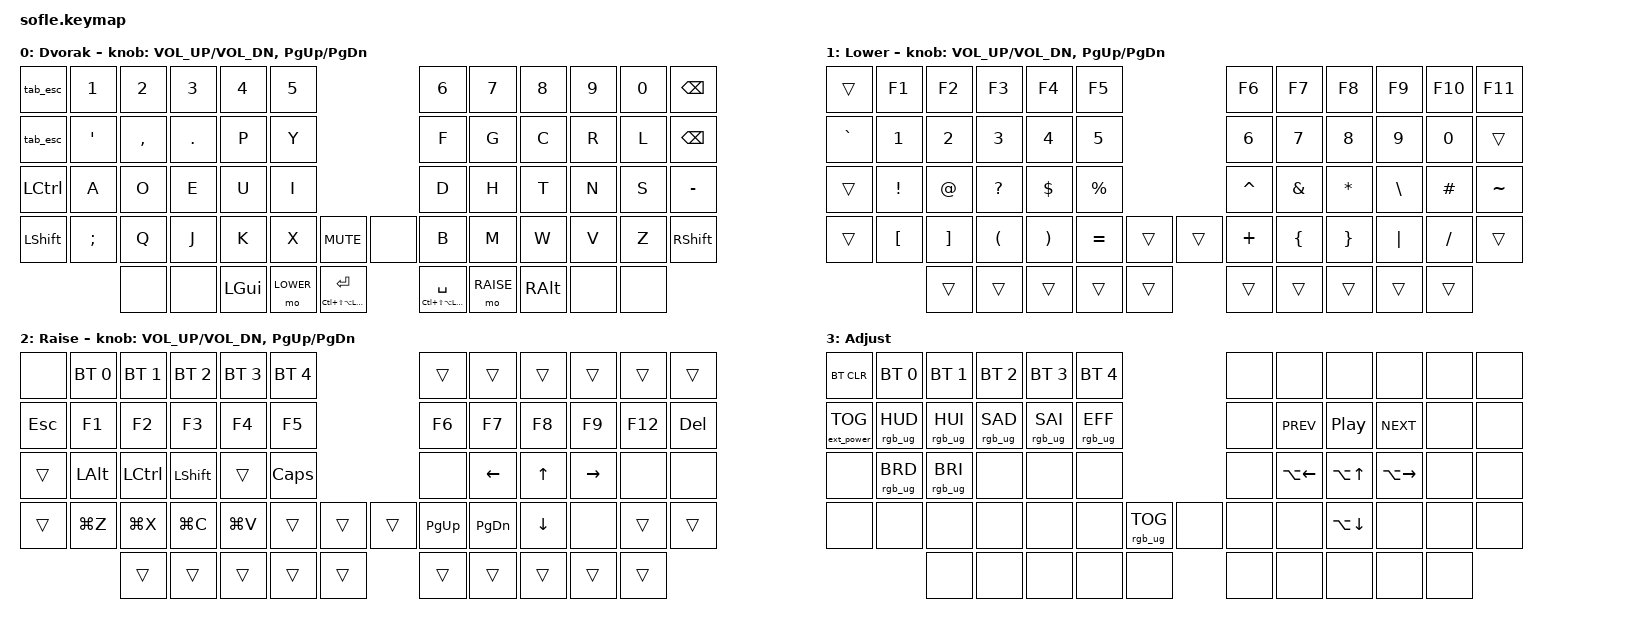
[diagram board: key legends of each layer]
/*
 * Copyright (c) 2020 The ZMK Contributors
 *
 * SPDX-License-Identifier: MIT
 */

#include <behaviors.dtsi>
#include <dt-bindings/zmk/keys.h>
#include <dt-bindings/zmk/bt.h>
#include <dt-bindings/zmk/rgb.h>
#include <dt-bindings/zmk/ext_power.h>

#define BASE 0
#define LOWER 1
#define RAISE 2
#define ADJUST 3

/ {

    behaviors {
        tab_esc: tab_escape {
            compatible = "zmk,behavior-mod-morph";
            #binding-cells = <0>;
            bindings = <&kp ESC>, <&kp TAB>;
            mods = <(MOD_RALT)>;
        };

        tp: tap_preferred {
            compatible = "zmk,behavior-hold-tap";
            label = "TAP_PREFERRED";
            #binding-cells = <2>;
            tapping-term-ms = <250>;
            quick-tap-ms = <0>;
            flavor = "tap-preferred";
            bindings = <&kp>, <&kp>;
          }; 
    };

   // Activate ADJUST layer by pressing raise and lower
    conditional_layers {
        compatible = "zmk,conditional-layers";
        adjust_layer {
            if-layers = <LOWER RAISE>;
            then-layer = <ADJUST>;
        };
    };

    keymap {
        compatible = "zmk,keymap";

        default_layer {
            display-name = "Dvorak";
// ------------------------------------------------------------------------------------------------------------
// |  ESC  |  1  |  2  |  3   |  4   |  5   |                   |  6   |  7    |  8    |  9   |   0   | BKSPC |
// |  TAB  |  '  |  ,  |  .   |  P   |  Y   |                   |  F   |  G    |  C    |  R   |   L   | BKSPC |
// |  CTRL |  A  |  O  |  E   |  U   |  I   |                   |  D   |  H    |  T    |  N   |   S   |   -   |
// | SHIFT |  ;  |  Q  |  J   |  K   |  X   |  MUTE  |  |       |  B   |  M    |  W    |  V   |   Z   | SHIFT |
//               |     |      | GUI  | LOWER|  ENTER |  | SPACE | RAISE| ALT   |       |      |
            bindings = <
&tab_esc    &kp N1    &kp N2     &kp N3    &kp N4     &kp N5                                  &kp N6                      &kp N7     &kp N8     &kp N9     &kp N0    &kp BSPC
&tab_esc    &kp SQT   &kp COMMA  &kp DOT   &kp P      &kp Y                                   &kp F                       &kp G      &kp C      &kp R      &kp L     &kp BSPC
&kp LCTRL   &kp A     &kp O      &kp E     &kp U      &kp I                                   &kp D                       &kp H      &kp T      &kp N      &kp S     &kp MINUS
&kp LSHFT   &kp SEMI  &kp Q      &kp J     &kp K      &kp X      &kp C_MUTE  &none            &kp B                       &kp M      &kp W      &kp V      &kp Z     &kp RSHFT
                      &none      &none     &kp LGUI   &mo LOWER  &tp LC(LS(LA(LGUI))) RET     &tp LC(LS(LA(LGUI))) SPACE  &mo RAISE  &kp RALT   &none      &none
            >;

            sensor-bindings = <&inc_dec_kp C_VOL_UP C_VOL_DN &inc_dec_kp PG_UP PG_DN>;
        };

        lower_layer {
            display-name = "Lower";
// TODO: Some binds are waiting for shifted keycode support.
// ------------------------------------------------------------------------------------------------------------
// |       |  F1 |  F2 |  F3  |  F4  |  F5  |                   |  F6  |  F7   |  F8   |  F9  |  F10  |  F11  |
// |   `   |  1  |  2  |  3   |  4   |  5   |                   |  6   |  7    |  8    |  9   |   0   |       |
// |       |  !  |  @  |  ?   |  $   |  %   |                   |  ^   |  &    |  *    |  \   |   #   |   ~   |
// |       |  [  |  ]  |  (   |  )   |  =   |        |  |       |  +   |  {    |  }    |  |   |   /   |       |
//               |     |      |      |      |        |  |       |      |       |       |      |
            bindings = <
&trans     &kp F1     &kp F2     &kp F3      &kp F4    &kp F5                     &kp F6     &kp F7    &kp F8     &kp F9     &kp F10   &kp F11
&kp GRAVE  &kp N1     &kp N2     &kp N3      &kp N4    &kp N5                     &kp N6     &kp N7    &kp N8     &kp N9     &kp N0    &trans
&trans     &kp EXCL   &kp AT     &kp QMARK   &kp DLLR  &kp PRCNT                  &kp CARET  &kp AMPS  &kp ASTRK  &kp BSLH   &kp HASH  &kp TILDE
&trans     &kp LBKT   &kp RBKT   &kp LPAR    &kp RPAR  &kp EQUAL  &trans  &trans  &kp PLUS   &kp LBRC  &kp RBRC   &kp PIPE   &kp FSLH  &trans
                      &trans     &trans      &trans    &trans     &trans  &trans  &trans     &trans    &trans     &trans
            >;

            sensor-bindings = <&inc_dec_kp C_VOL_UP C_VOL_DN &inc_dec_kp PG_UP PG_DN>;
        };

        raise_layer {
            display-name = "Raise";
// ------------------------------------------------------------------------------------------------------------
// |       | BT1  | BT2  |  BT3  |  BT4  |  BT5 |                |      |      |       |      |       |       |
// |  ESC  | F1   | F2   |  F3   |  F4   |  F5  |                |  F6  |  F7  |  F8   |  F9  |  F10  |  F12  |
// |       | ALT  | CTRL | SHIFT |       | CAPS |                |      |   <- |   ^   |  ->  |       |  DEL  |
// |       | UNDO | CUT  | COPY  | PASTE |      |      |  |      | PGUP | PGDN |   v   |      |       |       |
//                |      |       |       |      |      |  |      |      |      |       |      |
            bindings = <
&none      &bt BT_SEL 0 &bt BT_SEL 1 &bt BT_SEL 2 &bt BT_SEL 3 &bt BT_SEL 4                  &trans    &trans    &trans   &trans    &trans  &trans
&kp ESC    &kp F1       &kp F2       &kp F3       &kp F4     &kp F5                          &kp F6    &kp F7    &kp F8   &kp F9    &kp F12 &kp DEL
&trans     &kp LALT     &kp LCTRL    &kp LSHFT    &trans       &kp CLCK                      &none     &kp LEFT  &kp UP   &kp RIGHT &none   &none
&trans     &kp LG(Z)   &kp LG(X)     &kp LG(C)    &kp LG(V)    &trans        &trans  &trans  &kp PG_UP &kp PG_DN &kp DOWN &none     &trans  &trans
                        &trans       &trans       &trans       &trans        &trans  &trans  &trans    &trans    &trans   &trans
            >;

            sensor-bindings = <&inc_dec_kp C_VOL_UP C_VOL_DN &inc_dec_kp PG_UP PG_DN>;
        };

        adjust_layer {
// ----------------------------------------------------------------------------------------------------------------------------
// | BTCLR  |  BT1    |  BT2    |   BT3   |   BT4   |   BT5   |                  |      |      |       |      |       |       |
// | EXTPWR | RGB_HUD | RGB_HUI | RGB_SAD | RGB_SAI | RGB_EFF |                  |      |      |       |      |       |       |
// |        | RGB_BRD | RGB_BRI |         |         |         |                  |      |      |       |      |       |       |
// |        |         |         |         |         |         | RGB_TOG | |      |      |      |       |      |       |       |
//                    |         |         |         |         |         | |      |      |      |       |      |
            display-name = "Adjust";
            bindings = <
&bt BT_CLR          &bt BT_SEL 0     &bt BT_SEL 1     &bt BT_SEL 2     &bt BT_SEL 3     &bt BT_SEL 4                            &none &none         &none        &none          &none &none
&ext_power EP_TOG   &rgb_ug RGB_HUD  &rgb_ug RGB_HUI  &rgb_ug RGB_SAD  &rgb_ug RGB_SAI  &rgb_ug RGB_EFF                         &none &kp C_PREV    &kp C_PP     &kp C_NEXT     &none &none
&none               &rgb_ug RGB_BRD  &rgb_ug RGB_BRI  &none            &none            &none                                   &none &kp LA(LEFT)  &kp LA(UP)   &kp LA(RIGHT)  &none &none
&none               &none            &none            &none            &none            &none            &rgb_ug RGB_TOG &none  &none &none         &kp LA(DOWN) &none          &none &none
                                     &none            &none            &none            &none            &none           &none  &none &none         &none        &none
            >;
        };

    };
};
